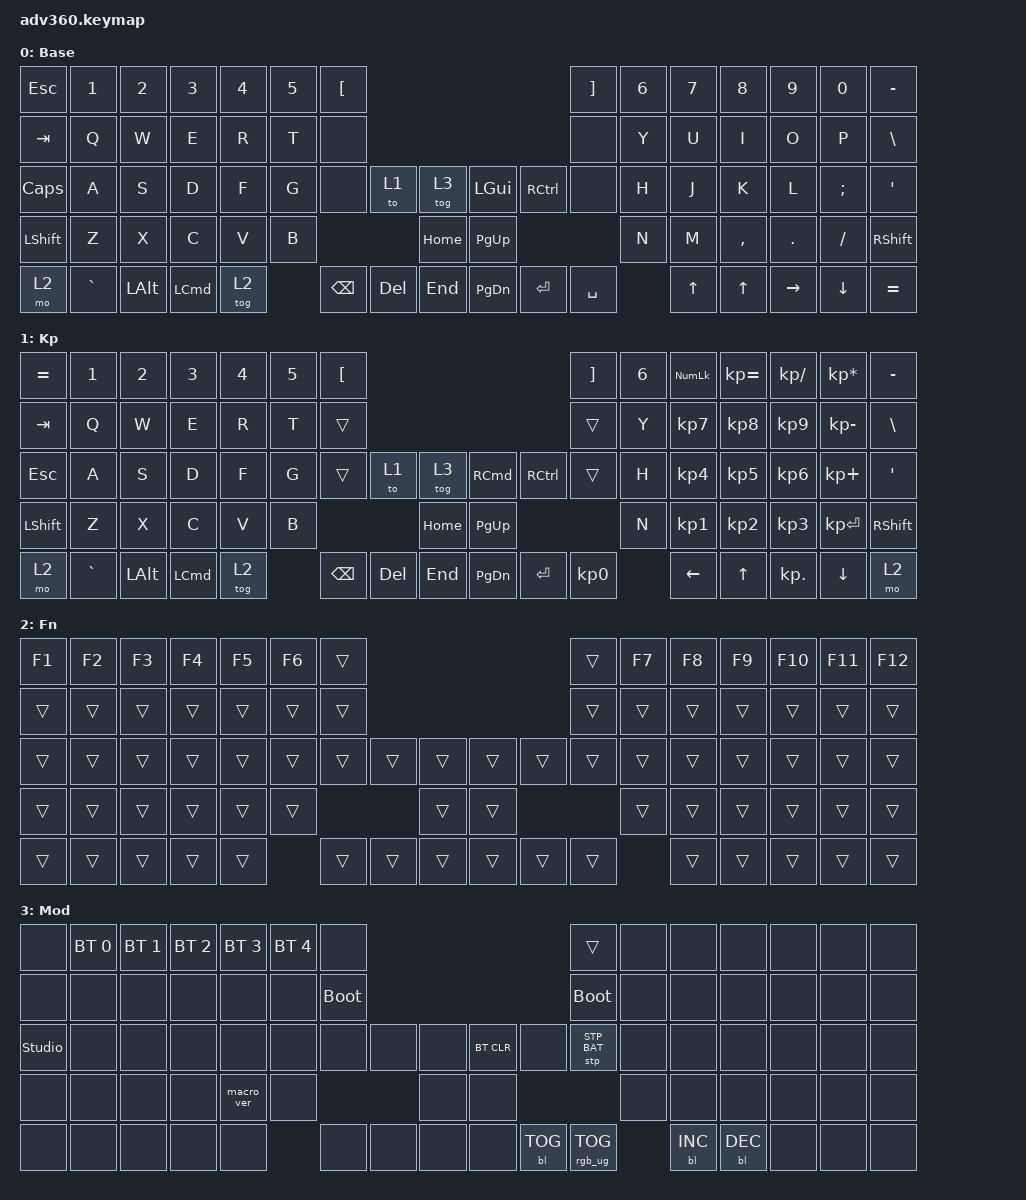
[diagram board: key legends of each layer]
#include <dt-bindings/zmk/stp.h>
#include <behaviors.dtsi>
#include <dt-bindings/zmk/backlight.h>
#include <dt-bindings/zmk/bt.h>
#include <dt-bindings/zmk/keys.h>
#include <dt-bindings/zmk/rgb.h>

/ {
    behaviors {
        #include "macros.dtsi"
      #include "version.dtsi"

        hm: homerow_mods {
            compatible = "zmk,behavior-hold-tap";
            label = "HOMEROW_MODS";
            #binding-cells = <2>;
            tapping-term-ms = <200>;
            quick_tap_ms = <175>;
            flavor = "tap-preferred";
            bindings = <&kp>, <&kp>;
        };
    };

    keymap {
        compatible = "zmk,keymap";

        default_layer {
            display-name = "Base";
            bindings = <
&kp ESCAPE    &kp N1     &kp N2        &kp N3            &kp N4  &kp N5  &kp LEFT_BRACKET                                               &kp RIGHT_BRACKET  &kp N6  &kp N7  &kp N8        &kp N9           &kp N0          &kp MINUS
&kp TAB       &kp Q      &kp W         &kp E             &kp R   &kp T   &none                                                          &none              &kp Y   &kp U   &kp I         &kp O            &kp P           &kp BSLH
&kp CAPSLOCK  &kp A      &kp S         &kp D             &kp F   &kp G   &none             &to 1    &tog 3        &kp LGUI   &kp RCTRL  &none              &kp H   &kp J   &kp K         &kp L            &kp SEMI        &kp SQT
&kp LSHFT     &kp Z      &kp X         &kp C             &kp V   &kp B                              &kp HOME      &kp PG_UP                                &kp N   &kp M   &kp COMMA     &kp DOT          &kp FSLH        &kp RSHFT
&mo 2         &kp GRAVE  &kp LEFT_ALT  &kp LEFT_COMMAND  &tog 2          &kp BSPC          &kp DEL  &kp END       &kp PG_DN  &kp ENTER  &kp SPACE                  &kp UP  &kp UP_ARROW  &kp RIGHT_ARROW  &kp DOWN_ARROW  &kp EQUAL
            >;
        };

        keypad {
            display-name = "Kp";
            bindings = <
&kp EQUAL  &kp N1     &kp N2        &kp N3            &kp N4  &kp N5  &kp LEFT_BRACKET                                                       &kp RIGHT_BRACKET  &kp N6  &kp KP_NUM      &kp KP_EQUAL  &kp KP_DIVIDE  &kp KP_MULTIPLY  &kp MINUS
&kp TAB    &kp Q      &kp W         &kp E             &kp R   &kp T   &trans                                                                 &trans             &kp Y   &kp KP_N7       &kp KP_N8     &kp KP_N9      &kp KP_MINUS     &kp BSLH
&kp ESC    &kp A      &kp S         &kp D             &kp F   &kp G   &trans            &to 1    &tog 3        &kp RIGHT_COMMAND  &kp RCTRL  &trans             &kp H   &kp KP_N4       &kp KP_N5     &kp KP_N6      &kp KP_PLUS      &kp SQT
&kp LSHFT  &kp Z      &kp X         &kp C             &kp V   &kp B                              &kp HOME      &kp PG_UP                                        &kp N   &kp KP_N1       &kp KP_N2     &kp KP_N3      &kp KP_ENTER     &kp RSHFT
&mo 2      &kp GRAVE  &kp LEFT_ALT  &kp LEFT_COMMAND  &tog 2          &kp BSPC          &kp DEL  &kp END       &kp PG_DN          &kp ENTER  &kp KP_N0                  &kp LEFT_ARROW  &kp UP_ARROW  &kp KP_DOT     &kp DOWN_ARROW   &mo 2
            >;
        };

        fn {
            display-name = "Fn";
            bindings = <
&kp F1  &kp F2  &kp F3  &kp F4  &kp F5  &kp F6  &trans                                      &trans  &kp F7  &kp F8  &kp F9  &kp F10  &kp F11  &kp F12
&trans  &trans  &trans  &trans  &trans  &trans  &trans                                      &trans  &trans  &trans  &trans  &trans   &trans   &trans
&trans  &trans  &trans  &trans  &trans  &trans  &trans  &trans  &trans      &trans  &trans  &trans  &trans  &trans  &trans  &trans   &trans   &trans
&trans  &trans  &trans  &trans  &trans  &trans                  &trans      &trans                  &trans  &trans  &trans  &trans   &trans   &trans
&trans  &trans  &trans  &trans  &trans          &trans  &trans  &trans      &trans  &trans  &trans          &trans  &trans  &trans   &trans   &trans
            >;
        };

        mod {
            display-name = "Mod";
            bindings = <
&none           &bt BT_SEL 0  &bt BT_SEL 1  &bt BT_SEL 2  &bt BT_SEL 3  &bt BT_SEL 4  &none                                                  &trans           &none  &none       &none       &none  &none  &none
&none           &none         &none         &none         &none         &none         &bootloader                                            &bootloader      &none  &none       &none       &none  &none  &none
&studio_unlock  &none         &none         &none         &none         &none         &none        &none  &none      &bt BT_CLR  &none       &stp STP_BAT     &none  &none       &none       &none  &none  &none
&none           &none         &none         &none         &macro_ver    &none                             &none      &none                                    &none  &none       &none       &none  &none  &none
&none           &none         &none         &none         &none                       &none        &none  &none      &none       &bl BL_TOG  &rgb_ug RGB_TOG         &bl BL_INC  &bl BL_DEC  &none  &none  &none
            >;
        };
    };
};
